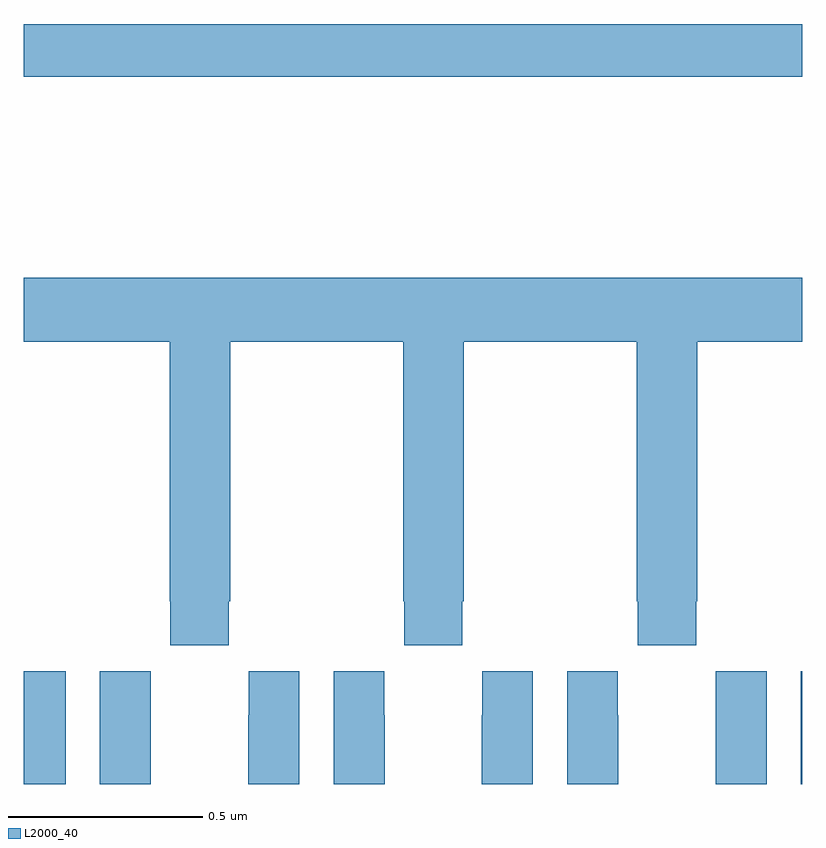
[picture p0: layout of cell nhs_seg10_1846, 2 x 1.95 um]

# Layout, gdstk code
import gdstk
lib = gdstk.Library(unit=1e-6, precision=1e-09)
def R(c, l, rs):  # rectangles x0, y0, x1, y1
    for r in rs: c.add(gdstk.rectangle(r[:2], r[2:], *l))
def P(c, l, *ps):  # polygons
    for p in ps: c.add(gdstk.Polygon(p, *l))
L2000_40 = (2000, 40)

nhs_seg10_1846 = lib.new_cell('nhs_seg10_1846')
R(nhs_seg10_1846, L2000_40, [(133,1312.5,133.108,1312.789), (134.996,1312.5,135,1312.789), (133,1314.316,135,1314.452)])
P(nhs_seg10_1846, L2000_40, [(133.527,1312.969),(133.53,1312.969),(133.53,1313.636),(133.975,1313.636),(133.975,1312.969),(133.977,1312.969),(133.977,1312.857),(134.127,1312.857),(134.127,1312.969),(134.13,1312.969),(134.13,1313.636),(134.575,1313.636),(134.575,1312.969),(134.577,1312.969),(134.577,1312.857),(134.727,1312.857),(134.727,1312.969),(134.73,1312.969),(134.73,1313.636),(135,1313.636),(135,1313.8),(133,1313.8),(133,1313.636),(133.375,1313.636),(133.375,1312.969),(133.377,1312.969),(133.377,1312.857),(133.527,1312.857)],
  [(133.327,1312.676),(133.326,1312.676),(133.326,1312.789),(133.196,1312.789),(133.196,1312.5),(133.327,1312.5)],
  [(133.927,1312.676),(133.926,1312.676),(133.926,1312.789),(133.796,1312.789),(133.796,1312.5),(133.927,1312.5)],
  [(134.908,1312.789),(134.778,1312.789),(134.778,1312.676),(134.777,1312.676),(134.777,1312.5),(134.908,1312.5)],
  [(134.527,1312.676),(134.526,1312.676),(134.526,1312.789),(134.396,1312.789),(134.396,1312.5),(134.527,1312.5)],
  [(134.308,1312.789),(134.178,1312.789),(134.178,1312.676),(134.177,1312.676),(134.177,1312.5),(134.308,1312.5)],
  [(133.708,1312.789),(133.578,1312.789),(133.578,1312.676),(133.577,1312.676),(133.577,1312.5),(133.708,1312.5)])

lib.write_gds('nhs_seg10_1846.gds')
